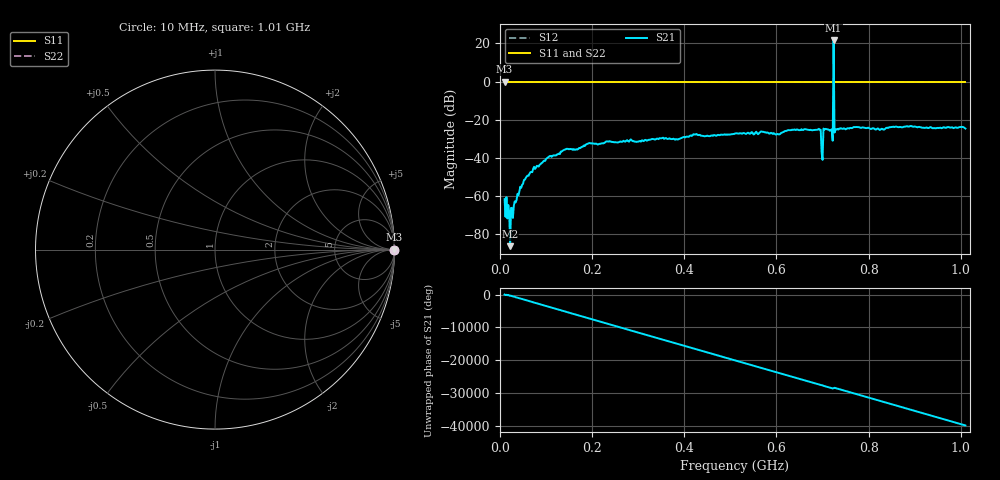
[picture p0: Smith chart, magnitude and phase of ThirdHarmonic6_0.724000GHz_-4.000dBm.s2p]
! 8/16/2025 12:12:19 AM
! C:\ANRITSUVNA\TEMP\TEMP.S2P
! CHANNEL.1
! TR.MEASUREMENT
! RAW.DATA
! RF.CORRECTION.OFF
! AVERAGING.OFF
! IF.BANDWIDTH: 5KHZ
! SWEEPTYPE:  FREQ.SWEEP(Linear)
! Reference Plane Port Info
! PORT:  PORT1  PORT2
! DISTANCE:  0  m  0  m
! TIME:  0  s  0  s
! PHASE.OFFSET:  0  deg.  0  deg.
! LOSS:  0  dB  0  dB
! REF.LOSS:  0  dB  0  dB
! REF.FREQ:  0  Hz  0  Hz
! Power Info
! POWER:  -20  dBm  -20  dBm
! EFF.POWER:  -20  dBm  -20  dBm
! SOURCE.ATTEN:  0  dB  0  dB
! TEST.ATTEN:  0  dB  0  dB
# GHZ S RI R 50.0
! FREQ.GHZ  S11RE  S11IM  S21RE  S21IM  S12RE  S12IM  S22RE  S22IM
!; PortSelection: Port_12
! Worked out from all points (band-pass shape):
!   501 points, 10 MHz to 1.01 GHz, reference 50 ohm
!   highest |S21| = 21.55 dB at 724 MHz (marker M1); lowest = -86.4 dB at 22 MHz (marker M2)
!   |S21| within 3 dB of the highest: 723.8859 MHz to 724.1241 MHz (238.2 kHz wide, 0.0329 % of centre)
!   lowest |S11| = 0.0 dB at 10 MHz (marker M3)
!   |S11| at or under -10 dB: nowhere
!   |S22| runs from 0.0 to 0.0 dB; largest |S21 - S12| = 11
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0.01  1 0  0.000812 -0.00014  1 0  1 0
0.022  1 0  4.03e-05 -2.63e-05  1 0  1 0
0.026  1 0  -0.000299 -0.000374  1 0  1 0
0.028  1 0  -0.000193 0.000181  1 0  1 0
0.052  1 0  -0.000833 -0.00249  1 0  1 0
0.076  1 0  0.0051 9.76e-05  1 0  1 0
0.14  1 0  0.00378 -0.0159  1 0  1 0
0.178  1 0  -0.019 -0.00428  1 0  1 0
0.344  1 0  0.03 -0.00705  1 0  1 0
0.51  1 0  -0.0397 0.0172  1 0  1 0
0.678  1 0  -0.026 -0.0456  1 0  1 0
0.692  1 0  0.0465 0.034  1 0  1 0
0.696  1 0  -0.0311 -0.0445  1 0  1 0
0.702  1 0  0.0579 -0.00821  1 0  1 0
0.706  1 0  -0.056 -0.0128  1 0  1 0
0.718  1 0  0.0202 0.0499  1 0  1 0
0.72  1 0  0.0546 -0.0112  1 0  1 0
0.724  1 0  11.18 -4.237  1 0  1 0
0.728  1 0  0.0486 0.0258  1 0  1 0
0.73  1 0  0.0333 -0.0444  1 0  1 0
0.844  1 0  0.047 0.0406  1 0  1 0
1.01  1 0  -0.0576 -0.0105  1 0  1 0
